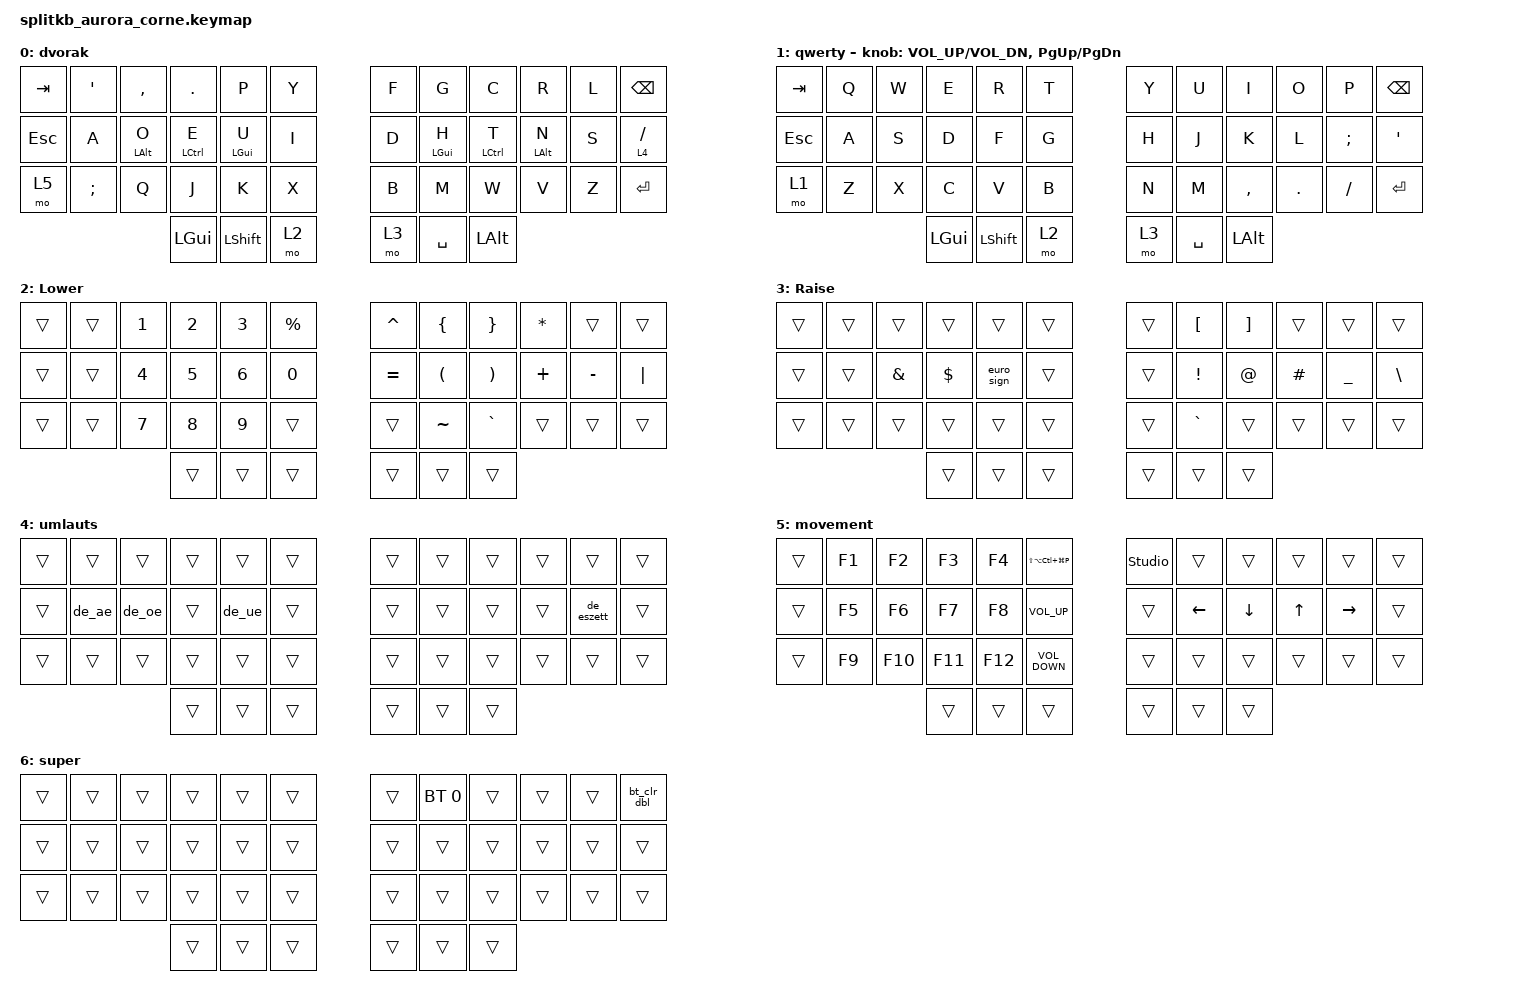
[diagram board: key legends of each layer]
/*
 * Copyright (c) 2020 The ZMK Contributors
 *
 * SPDX-License-Identifier: MIT
 */

#include <behaviors.dtsi>
#include <dt-bindings/zmk/keys.h>
#include <dt-bindings/zmk/bt.h>

// Copied from https://github.com/urob/zmk-nodefree-config

#define HOST_OS 2  // set to 2 for macOS/Windows-Alt-Codes, default is 0 (Windows)

#include "../zmk-nodefree-config/helper.h"
#include "../zmk-nodefree-config/international_chars/german.dtsi"


ZMK_UNICODE_SINGLE(euro_sign, N2, N0, A, C)

// Layers

#define DVORAK 0
#define QWERTY 1
#define LOWER 2
#define RAISE 3
#define UMLAUTS 4
#define MOVEMENT 5
#define SUPER 6
#define KEYS_RIGHT 6 7 8 9 10 11 18 19 20 21 22 23 30 31 32 33 34 35
#define KEYS_LEFT 0 1 2 3 4 5 12 13 14 15 16 17 24 25 26 27 28 29
#define THUMBS 36 37 38 39 40 41

/ {
    behaviors {
        hml: home_row_mod_left {
            compatible = "zmk,behavior-hold-tap";
            #binding-cells = <2>;
            flavor = "balanced";
            require-prior-idle-ms = <150>;
            tapping-term-ms = <280>;
            quick-tap-ms = <175>;
            bindings = <&kp>, <&kp>;

            hold-trigger-key-positions = <KEYS_RIGHT THUMBS>; // List of keys on the right side of the keyboard
            hold-trigger-on-release;
        };

        hmr: home_row_mod_right {
            compatible = "zmk,behavior-hold-tap";
            #binding-cells = <2>;
            flavor = "balanced";
            require-prior-idle-ms = <150>;
            tapping-term-ms = <280>;
            quick-tap-ms = <175>;
            bindings = <&kp>, <&kp>;

            hold-trigger-key-positions = <KEYS_LEFT THUMBS>; // List of keys on the left side of the keyboard
            hold-trigger-on-release;
        };

        // single tap does nothing so an accidental press can't wipe the pairing
        bt_clr_dbl: bt_clear_double_tap {
            compatible = "zmk,behavior-tap-dance";
            #binding-cells = <0>;
            tapping-term-ms = <300>;
            bindings = <&none>, <&bt BT_CLR>;
        };
    };

    conditional_layers {
        compatible = "zmk,conditional-layers";
        tri_layer {
            if-layers = <2 3>;
            then-layer = <6>;
        };
    };

    keymap {
        compatible = "zmk,keymap";

        dvorak {
            // ---------------------------------------------------------------------------------------------------------------------------------
            // |  TAB  |  A  |  S  |  D   |  F   |  G   |   |  H   |  J    |  K    |  L   |   ;   |   '  |
            // |  ESC  |  Q  |  W  |  E   |  R   |  T   |   |  Y   |  U    |  I    |  O   |   P   |   \  |
            // | SHIFT |  Z  |  X  |  C   |  V   |  B   |   |  N   |  M    |  ,    |  .   |   /   | Enter|
            //                     | GUI  | DEL  |      |   |   RET   |  SPACE  | TAB  |

            bindings = <
&kp TAB  &kp SINGLE_QUOTE  &kp COMMA        &kp DOT              &kp P           &kp Y    &kp F  &kp G        &kp C                &kp R            &kp L  &kp BSPC
&kp ESC  &kp A             &hml LEFT_ALT O  &hml LEFT_CONTROL E  &hml LGUI U     &kp I    &kp D  &hmr LGUI H  &hmr LEFT_CONTROL T  &hmr LEFT_ALT N  &kp S  &lt 4 SLASH
&mo 5    &kp SEMI          &kp Q            &kp J                &kp K           &kp X    &kp B  &kp M        &kp W                &kp V            &kp Z  &kp ENTER
                                            &kp LGUI             &kp LEFT_SHIFT  &mo 2    &mo 3  &kp SPACE    &kp LEFT_ALT
            >;
        };

        qwerty {
            // ---------------------------------------------------------------------------------------------------------------------------------
            // |  ESC  |  Q  |  W  |  E   |  R   |  T   |   |  Y   |  U    |  I    |  O   |   P   |   \  |
            // |  TAB  |  A  |  S  |  D   |  F   |  G   |   |  H   |  J    |  K    |  L   |   ;   |   '  |
            // | SHIFT |  Z  |  X  |  C   |  V   |  B   |   |  N   |  M    |  ,    |  .   |   /   | CTRL |
            //                     | GUI  | DEL  | RET  |   | TAB  | BSPC  | R-ALT |

            bindings = <
&kp TAB  &kp Q  &kp W  &kp E     &kp R           &kp T    &kp Y  &kp U      &kp I         &kp O    &kp P     &kp BSPC
&kp ESC  &kp A  &kp S  &kp D     &kp F           &kp G    &kp H  &kp J      &kp K         &kp L    &kp SEMI  &kp SQT
&mo 1    &kp Z  &kp X  &kp C     &kp V           &kp B    &kp N  &kp M      &kp COMMA     &kp DOT  &kp FSLH  &kp ENTER
                       &kp LGUI  &kp LEFT_SHIFT  &mo 2    &mo 3  &kp SPACE  &kp LEFT_ALT
            >;

            sensor-bindings = <&inc_dec_kp C_VOL_UP C_VOL_DN &inc_dec_kp PG_UP PG_DN>;
        };

        Lower {
            bindings = <
&trans  &trans  &kp NUMBER_1  &kp NUMBER_2  &kp NUMBER_3  &kp PERCENT     &kp CARET  &kp LEFT_BRACE        &kp RIGHT_BRACE        &kp STAR  &trans     &trans
&trans  &trans  &kp NUMBER_4  &kp NUMBER_5  &kp NUMBER_6  &kp NUMBER_0    &kp EQUAL  &kp LEFT_PARENTHESIS  &kp RIGHT_PARENTHESIS  &kp PLUS  &kp MINUS  &kp PIPE
&trans  &trans  &kp NUMBER_7  &kp NUMBER_8  &kp NUMBER_9  &trans          &trans     &kp TILDE             &kp GRAVE              &trans    &trans     &trans
                              &trans        &trans        &trans          &trans     &trans                &trans
            >;
        };

        Raise {
            bindings = <
&trans  &trans  &trans         &trans      &trans      &trans    &trans  &kp LEFT_BRACKET  &kp RIGHT_BRACKET  &trans    &trans     &trans
&trans  &trans  &kp AMPERSAND  &kp DOLLAR  &euro_sign  &trans    &trans  &kp EXCL          &kp AT             &kp HASH  &kp UNDER  &kp BSLH
&trans  &trans  &trans         &trans      &trans      &trans    &trans  &kp GRAVE         &trans             &trans    &trans     &trans
                               &trans      &trans      &trans    &trans  &trans            &trans
            >;
        };

        umlauts {
            bindings = <
&trans  &trans  &trans  &trans  &trans  &trans    &trans  &trans  &trans  &trans  &trans      &trans
&trans  &de_ae  &de_oe  &trans  &de_ue  &trans    &trans  &trans  &trans  &trans  &de_eszett  &trans
&trans  &trans  &trans  &trans  &trans  &trans    &trans  &trans  &trans  &trans  &trans      &trans
                        &trans  &trans  &trans    &trans  &trans  &trans
            >;
        };

        movement {
            bindings = <
&trans  &kp F1  &kp F2   &kp F3   &kp F4   &kp LS(LA(LC(LG(P))))    &studio_unlock  &trans    &trans  &trans  &trans     &trans
&trans  &kp F5  &kp F6   &kp F7   &kp F8   &kp C_VOLUME_UP          &trans          &kp LEFT  &kp DOWN  &kp UP  &kp RIGHT  &trans
&trans  &kp F9  &kp F10  &kp F11  &kp F12  &kp C_VOLUME_DOWN        &trans          &trans    &trans    &trans  &trans     &trans
                         &trans   &trans   &trans                   &trans          &trans    &trans
            >;
        };

        super {
            bindings = <
&trans  &trans  &trans  &trans  &trans  &trans    &trans  &bt BT_SEL 0  &trans  &trans  &trans  &bt_clr_dbl
&trans  &trans  &trans  &trans  &trans  &trans    &trans  &trans  &trans  &trans  &trans  &trans
&trans  &trans  &trans  &trans  &trans  &trans    &trans  &trans  &trans  &trans  &trans  &trans
                        &trans  &trans  &trans    &trans  &trans  &trans
            >;
        };
    };
};
